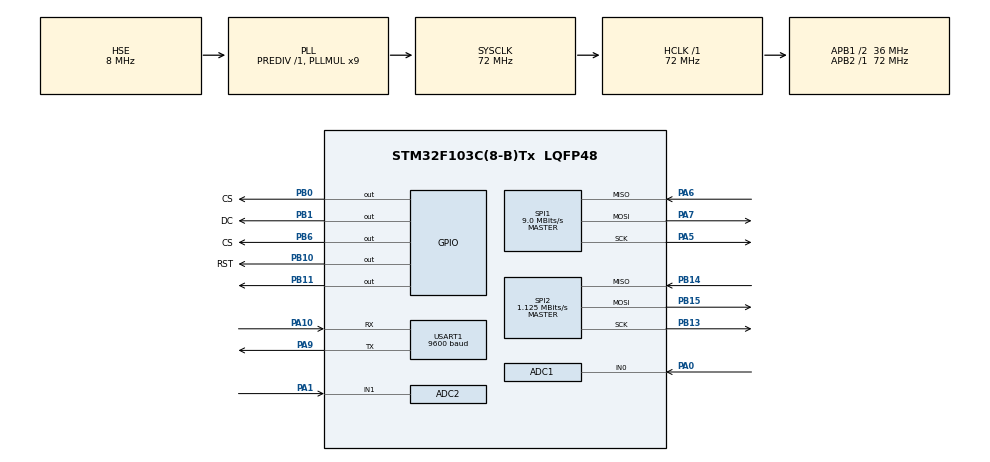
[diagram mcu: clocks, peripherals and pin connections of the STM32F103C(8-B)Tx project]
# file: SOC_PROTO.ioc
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ADC1.Channel-0\#ChannelRegularConversion=ADC_CHANNEL_0
ADC1.ContinuousConvMode=ENABLE
ADC1.NbrOfConversion=1
ADC1.NbrOfConversionFlag=1
ADC1.Rank-0\#ChannelRegularConversion=1
ADC1.SamplingTime-0\#ChannelRegularConversion=ADC_SAMPLETIME_71CYCLES_5
ADC1.master=1
ADC2.Channel-3\#ChannelRegularConversion=ADC_CHANNEL_1
ADC2.ContinuousConvMode=ENABLE
ADC2.NbrOfConversionFlag=1
ADC2.Rank-3\#ChannelRegularConversion=1
ADC2.SamplingTime-3\#ChannelRegularConversion=ADC_SAMPLETIME_71CYCLES_5
Dma.Request0=SPI2_RX
Dma.Request1=SPI2_TX
Dma.SPI2_RX.0.Direction=DMA_PERIPH_TO_MEMORY
Dma.SPI2_RX.0.Instance=DMA1_Channel4
Dma.SPI2_RX.0.MemDataAlignment=DMA_MDATAALIGN_BYTE
Dma.SPI2_RX.0.MemInc=DMA_MINC_ENABLE
Dma.SPI2_RX.0.Mode=DMA_NORMAL
Dma.SPI2_RX.0.PeriphDataAlignment=DMA_PDATAALIGN_BYTE
Dma.SPI2_RX.0.PeriphInc=DMA_PINC_DISABLE
Dma.SPI2_RX.0.Priority=DMA_PRIORITY_LOW
Dma.SPI2_TX.1.Direction=DMA_MEMORY_TO_PERIPH
Dma.SPI2_TX.1.Instance=DMA1_Channel5
Dma.SPI2_TX.1.MemDataAlignment=DMA_MDATAALIGN_BYTE
Dma.SPI2_TX.1.MemInc=DMA_MINC_ENABLE
Dma.SPI2_TX.1.Mode=DMA_NORMAL
Dma.SPI2_TX.1.PeriphDataAlignment=DMA_PDATAALIGN_BYTE
Dma.SPI2_TX.1.PeriphInc=DMA_PINC_DISABLE
Dma.SPI2_TX.1.Priority=DMA_PRIORITY_LOW
FATFS._USE_LABEL=1
FATFS._USE_LFN=3
Mcu.Family=STM32F1
Mcu.Name=STM32F103C(8-B)Tx
Mcu.Package=LQFP48
NVIC.DMA1_Channel4_IRQn=true\:0\:0\:false\:false\:true\:false\:true\:true
NVIC.DMA1_Channel5_IRQn=true\:0\:0\:false\:false\:true\:false\:true\:true
NVIC.PriorityGroup=NVIC_PRIORITYGROUP_4
PA0-WKUP.Signal=ADCx_IN0
PA1.Signal=ADCx_IN1
PA10.Mode=Asynchronous
PA10.Signal=USART1_RX
PA13.Mode=Serial_Wire
PA13.Signal=SYS_JTMS-SWDIO
PA14.Mode=Serial_Wire
PA14.Signal=SYS_JTCK-SWCLK
PA5.Mode=Full_Duplex_Master
PA5.Signal=SPI1_SCK
PA6.Mode=Full_Duplex_Master
PA6.Signal=SPI1_MISO
PA7.Mode=Full_Duplex_Master
PA7.Signal=SPI1_MOSI
PA9.Mode=Asynchronous
PA9.Signal=USART1_TX
PB0.GPIO_Label=CS
PB0.Signal=GPIO_Output
PB1.GPIO_Label=DC
PB1.Signal=GPIO_Output
PB10.GPIO_Label=RST
PB10.Signal=GPIO_Output
PB11.Signal=GPIO_Output
PB13.Mode=Full_Duplex_Master
PB13.Signal=SPI2_SCK
PB14.Mode=Full_Duplex_Master
PB14.Signal=SPI2_MISO
PB15.Mode=Full_Duplex_Master
PB15.Signal=SPI2_MOSI
PB6.GPIO_Label=CS
PB6.GPIO_Speed=GPIO_SPEED_FREQ_HIGH
PB6.PinState=GPIO_PIN_SET
PB6.Signal=GPIO_Output
PD0-OSC_IN.Mode=HSE-External-Oscillator
PD0-OSC_IN.Signal=RCC_OSC_IN
PD1-OSC_OUT.Mode=HSE-External-Oscillator
PD1-OSC_OUT.Signal=RCC_OSC_OUT
ProjectManager.HeapSize=0x200
ProjectManager.StackSize=0x400
ProjectManager.TargetToolchain=STM32CubeIDE
RCC.ADCPresc=RCC_ADCPCLK2_DIV6
RCC.AHBFreq_Value=72000000
RCC.APB1CLKDivider=RCC_HCLK_DIV2
RCC.APB1Freq_Value=36000000
RCC.APB1TimFreq_Value=72000000
RCC.APB2Freq_Value=72000000
RCC.APB2TimFreq_Value=72000000
RCC.HCLKFreq_Value=72000000
RCC.PLLMUL=RCC_PLL_MUL9
RCC.PLLSourceVirtual=RCC_PLLSOURCE_HSE
RCC.SYSCLKFreq_VALUE=72000000
RCC.SYSCLKSource=RCC_SYSCLKSOURCE_PLLCLK
RCC.USBFreq_Value=72000000
SH.ADCx_IN0.0=ADC1_IN0,IN0
SH.ADCx_IN1.0=ADC2_IN1,IN1
SPI1.BaudRatePrescaler=SPI_BAUDRATEPRESCALER_8
SPI1.CalculateBaudRate=9.0 MBits/s
SPI1.Direction=SPI_DIRECTION_2LINES
SPI1.Mode=SPI_MODE_MASTER
SPI1.VirtualType=VM_MASTER
SPI2.BaudRatePrescaler=SPI_BAUDRATEPRESCALER_32
SPI2.CalculateBaudRate=1.125 MBits/s
SPI2.Direction=SPI_DIRECTION_2LINES
SPI2.Mode=SPI_MODE_MASTER
SPI2.VirtualType=VM_MASTER
USART1.BaudRate=9600
USART1.VirtualMode=VM_ASYNC
VP_FATFS_VS_Generic.Mode=User_defined
board=custom

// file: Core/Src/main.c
/* USER CODE BEGIN Header */
/**
  ******************************************************************************
  * @file           : main.c
  ******************************************************************************
  * @attention
  *
  * Copyright (c) 2026 STMicroelectronics.
  * All rights reserved.
  *
  * This software is licensed under terms that can be found in the LICENSE file
  * in the root directory of this software component.
  * If no LICENSE file comes with this software, it is provided AS-IS.
  *
  ******************************************************************************
  */
/* USER CODE END Header */
#include "main.h"
#include "fatfs.h"

/* USER CODE BEGIN Includes */
#include "sh1107.h"
#include "fonts.h"
#include "sd_functions.h"
#include "sd_spi.h"
#include "ekf_soc.h"
#include "tjc_hmi.h"
#include <stdio.h>
#include <string.h>
/* USER CODE END Includes */

/* USER CODE BEGIN PD */

#define DISPLAY_REFRESH_DIV     20
#define HMI_REFRESH_INTERVAL_MS  1000U

#define OLED_W                  SH1107_WIDTH
#define OLED_H                  SH1107_HEIGHT

#define HDR_Y                   2
#define HDR_LINE_Y              13

#define VLT_LABEL_Y             17
#define VLT_VALUE_Y             29
#define VLT_UNIT_Y              35
#define VLT_LINE_Y              51

#define CUR_LABEL_Y             54
#define CUR_VALUE_Y             66
#define CUR_UNIT_Y              72
#define CUR_LINE_Y              89

#define FTR_LINE_Y              90
#define FTR_COL_SEP_X           63
#define FTR_LABEL_Y             93
#define FTR_VALUE_Y             104

/* adjustable: ADC / sensor scaling */
#define ADC_VREF                3.3f
#define ADC_MAX_COUNT           4095.0f
#define ADC_OVERSAMPLE_COUNT    64

#define VOLTAGE_DIVIDER_R1      180000.0f
#define VOLTAGE_DIVIDER_R2      10000.0f
#define VOLTAGE_DIVIDER_RATIO   ((VOLTAGE_DIVIDER_R1 + VOLTAGE_DIVIDER_R2) / VOLTAGE_DIVIDER_R2)

#define CURRENT_SENSOR_OFFSET       1.690f
#define CURRENT_SENSOR_SENSITIVITY  (0.033f * (3.3f/5.0f))

/* adjustable: parameter baterai 3S22P 18650 (12 V nominal, 9.0-12.6 V, 30 Ah) */
#define BATT_CAPACITY_AH        30.0f   /* kapasitas nominal pack (Ah) */
#define BATT_RS_OHM             0.010f  /* resistansi dalam pack 3S22P (estimasi, ~5 mOhm sel + kabel/BMS) */
#define VBATT_MIN_VALID         6.0f    /* di bawah ini dianggap baterai belum terpasang */

/* adjustable: SD card init */
#define SD_POWERUP_DELAY_MS     300
#define SD_INIT_RETRIES         5
#define SD_RETRY_DELAY_MS       200

/* adjustable: EMA smoothing */
#define VOLTAGE_EMA_ALPHA       0.08f
#define CURRENT_EMA_ALPHA       0.04f

/* adjustable: SD logger timing */
#define LOG_FILENAME             "LOG.CSV"
#define LOG_BUFFER_SAMPLES       1
#define LOG_LINE_MAXLEN          44
#define LOG_SYNC_EVERY_FLUSH     1
#define LOG_SAMPLE_DIV           100

/* adjustable: auto-zero sample count */
#define AUTOZERO_SAMPLES        500
#define AUTOZERO_FALLBACK       CURRENT_SENSOR_OFFSET

/* USER CODE END PD */

ADC_HandleTypeDef hadc1;
ADC_HandleTypeDef hadc2;

SPI_HandleTypeDef hspi1;
SPI_HandleTypeDef hspi2;
DMA_HandleTypeDef hdma_spi2_rx;
DMA_HandleTypeDef hdma_spi2_tx;

UART_HandleTypeDef huart1;

/* USER CODE BEGIN PV */
volatile float voltage = 0.0f;
volatile float current = 0.0f;
volatile float soc_pct = 0.0f;   /* SOC (%) untuk Live Expressions */
volatile float vAdc2Raw = 0.0f;
static float adc1VoltFiltered = 0.0f;
static float adc2VoltFiltered = 0.0f;
static uint8_t emaInitialized = 0;
static float currentSensorOffset = AUTOZERO_FALLBACK;

static FIL      logFile;
static uint8_t  sdReady = 0;
static char     logChunk[LOG_BUFFER_SAMPLES * LOG_LINE_MAXLEN];
static uint16_t logChunkLen = 0;
static uint8_t  logSampleCount = 0;
static uint16_t logFlushCount = 0;
static uint32_t logTotalSamples = 0;
static uint32_t logTickOffset   = 0;

static char sdStatusStr[10] = "UNKNOWN";
static char lineBuf[24];

static EKF_SOC_HandleTypeDef hekfSoc;
static uint32_t ekfLastTick = 0;

/* USER CODE END PV */

void SystemClock_Config(void);
static void MX_GPIO_Init(void);
static void MX_DMA_Init(void);
static void MX_ADC1_Init(void);
static void MX_ADC2_Init(void);
static void MX_SPI1_Init(void);
static void MX_SPI2_Init(void);
static void MX_USART1_UART_Init(void);
/* USER CODE BEGIN PFP */
static uint16_t ADC_ReadAveraged(ADC_HandleTypeDef *hadc);
static void     FloatToStr(float value, char *buf, uint8_t decimals);
static void     DrawMainScreen(float v, float i);
static void     DrawCalibratingScreen(uint16_t samplesDone, float latestOffset);
static void     DrawZeroDoneScreen(float offset);
static uint8_t  SD_Logger_Init(void);
static void     SD_Logger_AddSample(float v, float i, float soc_pct);
static void     SD_Logger_Flush(void);
static void     AutoZero_Compute(void);
static void     EKF_SOC_ConfigureModel(EKF_SOC_HandleTypeDef *hekf);
/* USER CODE END PFP */

int main(void)
{

  /* USER CODE BEGIN 1 */
  uint16_t displayCounter  = 0;
  uint16_t logSampleCounter = 0;
  uint32_t hmiLastRefresh = 0;
  /* USER CODE END 1 */

  /* MCU Configuration--------------------------------------------------------*/

  /* Reset of all peripherals, Initializes the Flash interface and the Systick. */
  HAL_Init();

  /* Configure the system clock */
  SystemClock_Config();

  /* Initialize all configured peripherals */
  MX_GPIO_Init();
  MX_DMA_Init();
  MX_ADC1_Init();
  MX_ADC2_Init();
  MX_SPI1_Init();
  MX_SPI2_Init();
  MX_USART1_UART_Init();
  TJC_HMI_Init(&huart1);
  /* USER CODE BEGIN 2 */
  HAL_ADCEx_Calibration_Start(&hadc1);
  HAL_ADCEx_Calibration_Start(&hadc2);

  SH1107_Init();
  SH1107_Fill(SH1107_COLOR_BLACK);
  SH1107_GotoXY(22, 2);
  SH1107_Puts("SOC MONITORING", &Font_7x10, SH1107_COLOR_WHITE);
  SH1107_DrawLine(0, 13, OLED_W - 1, 13, SH1107_COLOR_WHITE);
  SH1107_GotoXY(16, 56);
  SH1107_Puts("Initializing...", &Font_7x10, SH1107_COLOR_WHITE);
  SH1107_UpdateScreen();
  (void)TJC_HMI_DrawMonitor(0.0f, 0.0f, 0.0f, 0U, sdStatusStr, "INIT");

  sdReady = SD_Logger_Init();
  HAL_Delay(600);

  (void)TJC_HMI_SetStatus("CALIB");
  AutoZero_Compute();
  (void)TJC_HMI_SetStatus("START");

  DrawZeroDoneScreen(currentSensorOffset);
  SH1107_UpdateScreen();
  HAL_Delay(1500);

  /* EKF: ConfigureModel must run before Init */
  EKF_SOC_ConfigureModel(&hekfSoc);
  {
      uint16_t raw_soc_adc = ADC_ReadAveraged(&hadc1);
      adc1VoltFiltered = (float)raw_soc_adc * ADC_VREF / ADC_MAX_COUNT;
      adc2VoltFiltered = (float)ADC_ReadAveraged(&hadc2) * ADC_VREF / ADC_MAX_COUNT;
      emaInitialized = 1U;
      float v0   = adc1VoltFiltered * VOLTAGE_DIVIDER_RATIO;
      float soc0 = EKF_SOC_SocFromOcv(&hekfSoc, v0);
      float x0[2] = { 0.0f, soc0 };
      EKF_SOC_Init(&hekfSoc, x0);
  }
  ekfLastTick = HAL_GetTick();
  (void)TJC_HMI_SetStatus("READY");

  /* USER CODE END 2 */

  /* Infinite loop */
  /* USER CODE BEGIN WHILE */
  while (1)
  {
    uint16_t raw1 = ADC_ReadAveraged(&hadc1);
    uint16_t raw2 = ADC_ReadAveraged(&hadc2);

    float adc1Raw = (float)raw1 * ADC_VREF / ADC_MAX_COUNT;
    float adc2Raw = (float)raw2 * ADC_VREF / ADC_MAX_COUNT;

    if (!emaInitialized) {
        adc1VoltFiltered = adc1Raw;
        adc2VoltFiltered = adc2Raw;
        emaInitialized = 1;
    } else {
        adc1VoltFiltered += VOLTAGE_EMA_ALPHA * (adc1Raw - adc1VoltFiltered);
        adc2VoltFiltered += CURRENT_EMA_ALPHA * (adc2Raw - adc2VoltFiltered);
    }

    voltage  = adc1VoltFiltered * VOLTAGE_DIVIDER_RATIO;
    vAdc2Raw = adc2VoltFiltered;
    current  = (vAdc2Raw - currentSensorOffset) / CURRENT_SENSOR_SENSITIVITY;

    {
        uint32_t nowTick = HAL_GetTick();
        float Ts = (float)(nowTick - ekfLastTick) / 1000.0f;
        ekfLastTick = nowTick;
        if (Ts <= 0.0f) Ts = 0.01f;

        /* FIX: abaikan transien saat baterai belum terpasang / tegangan belum valid */
        if (voltage > VBATT_MIN_VALID)
            EKF_SOC_Update(&hekfSoc, current, voltage, Ts);
        soc_pct = EKF_SOC_GetSoC(&hekfSoc) * 100.0f;
    }

    if (++displayCounter >= DISPLAY_REFRESH_DIV) {
        displayCounter = 0;
        DrawMainScreen(voltage, current);
    }

    if ((HAL_GetTick() - hmiLastRefresh) >= HMI_REFRESH_INTERVAL_MS) {
        hmiLastRefresh = HAL_GetTick();
        (void)TJC_HMI_DrawMonitor(voltage, current, soc_pct, logTotalSamples,
                                  sdStatusStr, "READY");
    }

    if (++logSampleCounter >= LOG_SAMPLE_DIV) {
        logSampleCounter = 0;
        SD_Logger_AddSample(voltage, current, EKF_SOC_GetSoC(&hekfSoc) * 100.0f);
    }

    HAL_Delay(10);
    /* USER CODE END WHILE */

  }
}

void SystemClock_Config(void)
{
  RCC_OscInitTypeDef RCC_OscInitStruct = {0};
  RCC_ClkInitTypeDef RCC_ClkInitStruct = {0};
  RCC_PeriphCLKInitTypeDef PeriphClkInit = {0};

  /** Initializes the RCC Oscillators according to the specified parameters
  * in the RCC_OscInitTypeDef structure.
  */
  RCC_OscInitStruct.OscillatorType = RCC_OSCILLATORTYPE_HSE;
  RCC_OscInitStruct.HSEState = RCC_HSE_ON;
  RCC_OscInitStruct.HSEPredivValue = RCC_HSE_PREDIV_DIV1;
  RCC_OscInitStruct.HSIState = RCC_HSI_ON;
  RCC_OscInitStruct.PLL.PLLState = RCC_PLL_ON;
  RCC_OscInitStruct.PLL.PLLSource = RCC_PLLSOURCE_HSE;
  RCC_OscInitStruct.PLL.PLLMUL = RCC_PLL_MUL9;
  if (HAL_RCC_OscConfig(&RCC_OscInitStruct) != HAL_OK)
  {
    Error_Handler();
  }

  /** Initializes the CPU, AHB and APB buses clocks
  */
  RCC_ClkInitStruct.ClockType = RCC_CLOCKTYPE_HCLK|RCC_CLOCKTYPE_SYSCLK
                              |RCC_CLOCKTYPE_PCLK1|RCC_CLOCKTYPE_PCLK2;
  RCC_ClkInitStruct.SYSCLKSource = RCC_SYSCLKSOURCE_PLLCLK;
  RCC_ClkInitStruct.AHBCLKDivider = RCC_SYSCLK_DIV1;
  RCC_ClkInitStruct.APB1CLKDivider = RCC_HCLK_DIV2;
  RCC_ClkInitStruct.APB2CLKDivider = RCC_HCLK_DIV1;

  if (HAL_RCC_ClockConfig(&RCC_ClkInitStruct, FLASH_LATENCY_2) != HAL_OK)
  {
    Error_Handler();
  }
  PeriphClkInit.PeriphClockSelection = RCC_PERIPHCLK_ADC;
  PeriphClkInit.AdcClockSelection = RCC_ADCPCLK2_DIV6;
  if (HAL_RCCEx_PeriphCLKConfig(&PeriphClkInit) != HAL_OK)
  {
    Error_Handler();
  }
}

static void MX_ADC1_Init(void)
{

  ADC_ChannelConfTypeDef sConfig = {0};

  /** Common config
  */
  hadc1.Instance = ADC1;
  hadc1.Init.ScanConvMode = ADC_SCAN_DISABLE;
  hadc1.Init.ContinuousConvMode = ENABLE;
  hadc1.Init.DiscontinuousConvMode = DISABLE;
  hadc1.Init.ExternalTrigConv = ADC_SOFTWARE_START;
  hadc1.Init.DataAlign = ADC_DATAALIGN_RIGHT;
  hadc1.Init.NbrOfConversion = 1;
  if (HAL_ADC_Init(&hadc1) != HAL_OK)
  {
    Error_Handler();
  }

  /** Configure Regular Channel
  */
  sConfig.Channel = ADC_CHANNEL_0;
  sConfig.Rank = ADC_REGULAR_RANK_1;
  sConfig.SamplingTime = ADC_SAMPLETIME_71CYCLES_5;
  if (HAL_ADC_ConfigChannel(&hadc1, &sConfig) != HAL_OK)
  {
    Error_Handler();
  }

}

static void MX_ADC2_Init(void)
{

  ADC_ChannelConfTypeDef sConfig = {0};

  /** Common config
  */
  hadc2.Instance = ADC2;
  hadc2.Init.ScanConvMode = ADC_SCAN_DISABLE;
  hadc2.Init.ContinuousConvMode = ENABLE;
  hadc2.Init.DiscontinuousConvMode = DISABLE;
  hadc2.Init.ExternalTrigConv = ADC_SOFTWARE_START;
  hadc2.Init.DataAlign = ADC_DATAALIGN_RIGHT;
  hadc2.Init.NbrOfConversion = 1;
  if (HAL_ADC_Init(&hadc2) != HAL_OK)
  {
    Error_Handler();
  }

  /** Configure Regular Channel
  */
  sConfig.Channel = ADC_CHANNEL_1;
  sConfig.Rank = ADC_REGULAR_RANK_1;
  sConfig.SamplingTime = ADC_SAMPLETIME_71CYCLES_5;
  if (HAL_ADC_ConfigChannel(&hadc2, &sConfig) != HAL_OK)
  {
    Error_Handler();
  }

}

static void MX_SPI1_Init(void)
{

  /* SPI1 parameter configuration*/
  hspi1.Instance = SPI1;
  hspi1.Init.Mode = SPI_MODE_MASTER;
  hspi1.Init.Direction = SPI_DIRECTION_2LINES;
  hspi1.Init.DataSize = SPI_DATASIZE_8BIT;
  hspi1.Init.CLKPolarity = SPI_POLARITY_LOW;
  hspi1.Init.CLKPhase = SPI_PHASE_1EDGE;
  hspi1.Init.NSS = SPI_NSS_SOFT;
  hspi1.Init.BaudRatePrescaler = SPI_BAUDRATEPRESCALER_8;
  hspi1.Init.FirstBit = SPI_FIRSTBIT_MSB;
  hspi1.Init.TIMode = SPI_TIMODE_DISABLE;
  hspi1.Init.CRCCalculation = SPI_CRCCALCULATION_DISABLE;
  hspi1.Init.CRCPolynomial = 10;
  if (HAL_SPI_Init(&hspi1) != HAL_OK)
  {
    Error_Handler();
  }

}

static void MX_SPI2_Init(void)
{

  /* SPI2 parameter configuration*/
  hspi2.Instance = SPI2;
  hspi2.Init.Mode = SPI_MODE_MASTER;
  hspi2.Init.Direction = SPI_DIRECTION_2LINES;
  hspi2.Init.DataSize = SPI_DATASIZE_8BIT;
  hspi2.Init.CLKPolarity = SPI_POLARITY_LOW;
  hspi2.Init.CLKPhase = SPI_PHASE_1EDGE;
  hspi2.Init.NSS = SPI_NSS_SOFT;
  hspi2.Init.BaudRatePrescaler = SPI_BAUDRATEPRESCALER_32;
  hspi2.Init.FirstBit = SPI_FIRSTBIT_MSB;
  hspi2.Init.TIMode = SPI_TIMODE_DISABLE;
  hspi2.Init.CRCCalculation = SPI_CRCCALCULATION_DISABLE;
  hspi2.Init.CRCPolynomial = 10;
  if (HAL_SPI_Init(&hspi2) != HAL_OK)
  {
    Error_Handler();
  }

}

static void MX_USART1_UART_Init(void)
{

  huart1.Instance = USART1;
  huart1.Init.BaudRate = 9600;
  huart1.Init.WordLength = UART_WORDLENGTH_8B;
  huart1.Init.StopBits = UART_STOPBITS_1;
  huart1.Init.Parity = UART_PARITY_NONE;
  huart1.Init.Mode = UART_MODE_TX_RX;
  huart1.Init.HwFlowCtl = UART_HWCONTROL_NONE;
  huart1.Init.OverSampling = UART_OVERSAMPLING_16;
  if (HAL_UART_Init(&huart1) != HAL_OK)
  {
    Error_Handler();
  }

}

static void MX_DMA_Init(void)
{

  /* DMA controller clock enable */
  __HAL_RCC_DMA1_CLK_ENABLE();

  /* DMA interrupt init */
  /* DMA1_Channel4_IRQn interrupt configuration */
  HAL_NVIC_SetPriority(DMA1_Channel4_IRQn, 0, 0);
  HAL_NVIC_EnableIRQ(DMA1_Channel4_IRQn);
  /* DMA1_Channel5_IRQn interrupt configuration */
  HAL_NVIC_SetPriority(DMA1_Channel5_IRQn, 0, 0);
  HAL_NVIC_EnableIRQ(DMA1_Channel5_IRQn);

}

static void MX_GPIO_Init(void)
{
  GPIO_InitTypeDef GPIO_InitStruct = {0};

  /* GPIO Ports Clock Enable */
  __HAL_RCC_GPIOD_CLK_ENABLE();
  __HAL_RCC_GPIOA_CLK_ENABLE();
  __HAL_RCC_GPIOB_CLK_ENABLE();

  /*Configure GPIO pin Output Level */
  HAL_GPIO_WritePin(GPIOB, CS_Pin|DC_Pin|RST_Pin|GPIO_PIN_11, GPIO_PIN_RESET);

  /*Configure GPIO pin Output Level */
  HAL_GPIO_WritePin(CSB6_GPIO_Port, CSB6_Pin, GPIO_PIN_SET);

  /*Configure GPIO pins : CS_Pin DC_Pin RST_Pin PB11 */
  GPIO_InitStruct.Pin = CS_Pin|DC_Pin|RST_Pin|GPIO_PIN_11;
  GPIO_InitStruct.Mode = GPIO_MODE_OUTPUT_PP;
  GPIO_InitStruct.Pull = GPIO_NOPULL;
  GPIO_InitStruct.Speed = GPIO_SPEED_FREQ_LOW;
  HAL_GPIO_Init(GPIOB, &GPIO_InitStruct);

  /*Configure GPIO pin : CSB6_Pin */
  GPIO_InitStruct.Pin = CSB6_Pin;
  GPIO_InitStruct.Mode = GPIO_MODE_OUTPUT_PP;
  GPIO_InitStruct.Pull = GPIO_NOPULL;
  GPIO_InitStruct.Speed = GPIO_SPEED_FREQ_HIGH;
  HAL_GPIO_Init(CSB6_GPIO_Port, &GPIO_InitStruct);

}

/* USER CODE BEGIN 4 */

static uint16_t ADC_ReadAveraged(ADC_HandleTypeDef *hadc)
{
    uint32_t sum = 0;
    uint8_t  valid = 0;
    for (uint8_t i = 0; i < ADC_OVERSAMPLE_COUNT; i++) {
        HAL_ADC_Start(hadc);
        if (HAL_ADC_PollForConversion(hadc, 100) == HAL_OK) {
            sum += HAL_ADC_GetValue(hadc);
            valid++;
        }
        HAL_ADC_Stop(hadc);
    }
    return valid ? (uint16_t)(sum / valid) : 0;
}

static void FloatToStr(float value, char *buf, uint8_t decimals)
{
    int32_t scale = 1;
    for (uint8_t i = 0; i < decimals; i++) scale *= 10;

    uint8_t neg    = (value < 0.0f);
    float   absVal = neg ? -value : value;
    int32_t scaled = (int32_t)(absVal * scale + 0.5f);
    int32_t whole  = scaled / scale;
    int32_t frac   = scaled % scale;

    sprintf(buf, "%s%ld.%0*ld", neg ? "-" : "", (long)whole, decimals, (long)frac);
}

static void DrawMainScreen(float v, float i)
{
    char numBuf[12];

    SH1107_DrawFilledRectangle(0, 0, OLED_W, 13, SH1107_COLOR_BLACK);
    SH1107_GotoXY(8, HDR_Y);
    SH1107_Puts("SOC MONITORING", &Font_7x10, SH1107_COLOR_WHITE);
    SH1107_DrawLine(0, HDR_LINE_Y, OLED_W - 1, HDR_LINE_Y, SH1107_COLOR_WHITE);

    SH1107_DrawFilledRectangle(0, VLT_LABEL_Y, OLED_W, VLT_LINE_Y - VLT_LABEL_Y + 1,
                               SH1107_COLOR_BLACK);
    SH1107_GotoXY(3, VLT_LABEL_Y);
    SH1107_Puts("VOLTAGE", &Font_7x10, SH1107_COLOR_WHITE);

    FloatToStr(v, numBuf, 2);
    SH1107_GotoXY(3, VLT_VALUE_Y);
    SH1107_Puts(numBuf, &Font_11x18, SH1107_COLOR_WHITE);
    SH1107_GotoXY(116, VLT_UNIT_Y);
    SH1107_Puts("V", &Font_7x10, SH1107_COLOR_WHITE);

    SH1107_DrawLine(0, VLT_LINE_Y, OLED_W - 1, VLT_LINE_Y, SH1107_COLOR_WHITE);

    SH1107_DrawFilledRectangle(0, CUR_LABEL_Y, OLED_W, CUR_LINE_Y - CUR_LABEL_Y + 1,
                               SH1107_COLOR_BLACK);
    SH1107_GotoXY(3, CUR_LABEL_Y);
    SH1107_Puts("CURRENT", &Font_7x10, SH1107_COLOR_WHITE);

    FloatToStr(i, numBuf, 2);
    SH1107_GotoXY(3, CUR_VALUE_Y);
    SH1107_Puts(numBuf, &Font_11x18, SH1107_COLOR_WHITE);
    SH1107_GotoXY(116, CUR_UNIT_Y);
    SH1107_Puts("A", &Font_7x10, SH1107_COLOR_WHITE);

    SH1107_DrawLine(0, CUR_LINE_Y, OLED_W - 1, CUR_LINE_Y, SH1107_COLOR_WHITE);

    SH1107_DrawFilledRectangle(0, FTR_LINE_Y + 1, OLED_W,
                               OLED_H - FTR_LINE_Y - 1, SH1107_COLOR_BLACK);

    SH1107_GotoXY(3, FTR_LABEL_Y);
    SH1107_Puts("LOGGED", &Font_7x10, SH1107_COLOR_WHITE);
    snprintf(lineBuf, sizeof(lineBuf), "%06lu", (unsigned long)logTotalSamples);
    SH1107_GotoXY(3, FTR_VALUE_Y);
    SH1107_Puts(lineBuf, &Font_7x10, SH1107_COLOR_WHITE);

    SH1107_DrawLine(FTR_COL_SEP_X, FTR_LINE_Y + 1, FTR_COL_SEP_X,
                    OLED_H - 1, SH1107_COLOR_WHITE);

    SH1107_GotoXY(67, FTR_LABEL_Y);
    SH1107_Puts("SD CARD", &Font_7x10, SH1107_COLOR_WHITE);
    SH1107_GotoXY(67, FTR_VALUE_Y);
    SH1107_Puts(sdStatusStr, &Font_7x10, SH1107_COLOR_WHITE);

    SH1107_UpdateScreen();
}

static void DrawCalibratingScreen(uint16_t samplesDone, float latestOffset)
{
    const uint16_t BAR_X = 3, BAR_Y = 58, BAR_W = 122, BAR_H = 12;
    char offBuf[12];

    SH1107_Fill(SH1107_COLOR_BLACK);

    SH1107_GotoXY(15, HDR_Y);
    SH1107_Puts("CALIBRATING", &Font_7x10, SH1107_COLOR_WHITE);
    SH1107_DrawLine(0, HDR_LINE_Y, OLED_W - 1, HDR_LINE_Y, SH1107_COLOR_WHITE);

    SH1107_GotoXY(3, 18);
    SH1107_Puts("No load on sensor", &Font_7x10, SH1107_COLOR_WHITE);
    SH1107_GotoXY(3, 29);
    SH1107_Puts("input. Zero amps.", &Font_7x10, SH1107_COLOR_WHITE);
    SH1107_DrawLine(0, 42, OLED_W - 1, 42, SH1107_COLOR_WHITE);

    SH1107_GotoXY(3, 46);
    SH1107_Puts("PROGRESS", &Font_7x10, SH1107_COLOR_WHITE);

    SH1107_DrawRectangle(BAR_X, BAR_Y, BAR_W, BAR_H, SH1107_COLOR_WHITE);

    uint16_t fillW = (uint16_t)((uint32_t)samplesDone * (BAR_W - 2) / AUTOZERO_SAMPLES);
    if (fillW > 0) {
        SH1107_DrawFilledRectangle(BAR_X + 1, BAR_Y + 1, fillW, BAR_H - 2,
                                   SH1107_COLOR_WHITE);
    }

    uint8_t pct = (uint8_t)((uint32_t)samplesDone * 100 / AUTOZERO_SAMPLES);
    snprintf(lineBuf, sizeof(lineBuf), "%3u%%", pct);
    SH1107_GotoXY(50, 74);
    SH1107_Puts(lineBuf, &Font_7x10, SH1107_COLOR_WHITE);

    SH1107_DrawLine(0, 86, OLED_W - 1, 86, SH1107_COLOR_WHITE);

    SH1107_GotoXY(3, 90);
    SH1107_Puts("Sampling ADC2...", &Font_7x10, SH1107_COLOR_WHITE);

    if (samplesDone > 0) {
        FloatToStr(latestOffset, offBuf, 4);
        snprintf(lineBuf, sizeof(lineBuf), "Offset: %s V", offBuf);
    } else {
        snprintf(lineBuf, sizeof(lineBuf), "Offset: -.---- V");
    }
    SH1107_GotoXY(3, 101);
    SH1107_Puts(lineBuf, &Font_7x10, SH1107_COLOR_WHITE);

    SH1107_UpdateScreen();
}

static void DrawZeroDoneScreen(float offset)
{
    char offBuf[12];

    SH1107_Fill(SH1107_COLOR_BLACK);

    SH1107_GotoXY(8, HDR_Y);
    SH1107_Puts("ZERO COMPLETE", &Font_7x10, SH1107_COLOR_WHITE);
    SH1107_DrawLine(0, HDR_LINE_Y, OLED_W - 1, HDR_LINE_Y, SH1107_COLOR_WHITE);

    SH1107_GotoXY(3, 18);
    SH1107_Puts("Offset captured:", &Font_7x10, SH1107_COLOR_WHITE);

    FloatToStr(offset, offBuf, 4);
    SH1107_GotoXY(3, 32);
    SH1107_Puts(offBuf, &Font_11x18, SH1107_COLOR_WHITE);
    SH1107_GotoXY(72, 40);
    SH1107_Puts("V", &Font_7x10, SH1107_COLOR_WHITE);

    SH1107_DrawLine(0, 55, OLED_W - 1, 55, SH1107_COLOR_WHITE);

    snprintf(lineBuf, sizeof(lineBuf), "Samples : %u",
             (unsigned)(AUTOZERO_SAMPLES * ADC_OVERSAMPLE_COUNT));
    SH1107_GotoXY(3, 59);
    SH1107_Puts(lineBuf, &Font_7x10, SH1107_COLOR_WHITE);
    SH1107_GotoXY(3, 70);
    SH1107_Puts("Quality : GOOD", &Font_7x10, SH1107_COLOR_WHITE);

    SH1107_DrawLine(0, 83, OLED_W - 1, 83, SH1107_COLOR_WHITE);

    SH1107_GotoXY(3, 88);
    SH1107_Puts("Connect load now.", &Font_7x10, SH1107_COLOR_WHITE);
    SH1107_GotoXY(3, 99);
    SH1107_Puts("Starting in 1.5s", &Font_7x10, SH1107_COLOR_WHITE);

    SH1107_DrawLine(0, 113, OLED_W - 1, 113, SH1107_COLOR_WHITE);

    SH1107_GotoXY(8, 117);
    SH1107_Puts("SOC MONITORING", &Font_7x10, SH1107_COLOR_WHITE);
}

static void AutoZero_Compute(void)
{
    double   acc   = 0.0;
    uint16_t valid = 0;

    DrawCalibratingScreen(0, 0.0f);

    for (uint16_t s = 1; s <= AUTOZERO_SAMPLES; s++) {
        uint16_t raw  = ADC_ReadAveraged(&hadc2);
        float    vRaw = (float)raw * ADC_VREF / ADC_MAX_COUNT;
        acc += (double)vRaw;
        valid++;

        float runningOffset = (float)(acc / valid);

        if ((s % 25) == 0 || s == AUTOZERO_SAMPLES) {
            DrawCalibratingScreen(s, runningOffset);
        }

        HAL_Delay(10);
    }

    if (valid > 0) {
        currentSensorOffset = (float)(acc / (double)valid);
    }
}

/* FIX: ganti prescaler SPI2 saat runtime (init SD wajib <= 400 kHz) */
static void SD_SetSpiPrescaler(uint32_t prescaler)
{
    __HAL_SPI_DISABLE(&hspi2);
    MODIFY_REG(hspi2.Instance->CR1, SPI_CR1_BR, prescaler);
    __HAL_SPI_ENABLE(&hspi2);
}

static uint8_t SD_Logger_Init(void)
{
    extern char sd_path[4];
    FRESULT res = FR_NOT_READY;
    uint8_t attempt;

    /* FIX: beri waktu kartu SD menyala setelah power-up (cold start lewat USB) */
    HAL_Delay(SD_POWERUP_DELAY_MS);

    for (attempt = 0; attempt < SD_INIT_RETRIES; attempt++) {
        SD_SetSpiPrescaler(SPI_BAUDRATEPRESCALER_32);   /* 8 MHz/32 = 250 kHz */
        res = sd_mount();
        if (res != FR_NOT_READY) break;
        FATFS_UnLinkDriver(sd_path);                    /* supaya sd_mount() bisa dicoba lagi */
        HAL_Delay(SD_RETRY_DELAY_MS);
    }
    SD_SetSpiPrescaler(SPI_BAUDRATEPRESCALER_4);        /* kembali ke 2 MHz utk logging */

    if (res == FR_NOT_READY) {
        if      (sd_init_error == SD_INIT_ERR_CMD0)   strcpy(sdStatusStr, "NO CARD");
        else if (sd_init_error == SD_INIT_ERR_ACMD41) strcpy(sdStatusStr, "TIMEOUT");
        else                                            strcpy(sdStatusStr, "ERROR");
        return 0;
    }

    if (res != FR_OK) {
        strcpy(sdStatusStr, "NO FAT");
        return 0;
    }

    FRESULT fres = f_open(&logFile, LOG_FILENAME, FA_OPEN_ALWAYS | FA_WRITE);
    if (fres != FR_OK) {
        strcpy(sdStatusStr, "OPEN ERR");
        return 0;
    }

    if (f_size(&logFile) == 0) {
        UINT bw;
        const char *hdr = "Timestamp_s,Voltage_V,Current_A,SoC_pct\r\n";
        f_write(&logFile, hdr, strlen(hdr), &bw);
        f_sync(&logFile);
    } else {
        f_lseek(&logFile, f_size(&logFile));
    }

    strcpy(sdStatusStr, "READY");
    return 1;
}

static void SD_Logger_AddSample(float v, float i, float soc_pct)
{
    if (!sdReady) return;

    if (logChunkLen + LOG_LINE_MAXLEN >= sizeof(logChunk)) {
        SD_Logger_Flush();
        if (!sdReady) return;
    }

    uint32_t now = HAL_GetTick();

    if (logTotalSamples == 0 && logSampleCount == 0) {
        logTickOffset = now;
    }

    uint32_t elapsed_s = (now - logTickOffset) / 1000UL;

    char vStr[12], iStr[12], socStr[12];
    FloatToStr(v, vStr, 3);
    FloatToStr(i, iStr, 3);
    FloatToStr(soc_pct, socStr, 2);

    int n = snprintf(&logChunk[logChunkLen], sizeof(logChunk) - logChunkLen,
                      "%lu,%s,%s,%s\r\n",
                      (unsigned long)elapsed_s, vStr, iStr, socStr);

    if (n > 0) logChunkLen += (uint16_t)n;

    if (++logSampleCount >= LOG_BUFFER_SAMPLES) SD_Logger_Flush();
}

static void SD_Logger_Flush(void)
{
    if (!sdReady || logChunkLen == 0) { logSampleCount = 0; return; }

    UINT bw;
    FRESULT res = f_write(&logFile, logChunk, logChunkLen, &bw);

    if (res != FR_OK || bw != logChunkLen) {
        strcpy(sdStatusStr, "WRITE ERR");
        sdReady = 0;
    } else {
        logTotalSamples += logSampleCount;
        if (++logFlushCount >= LOG_SYNC_EVERY_FLUSH) {
            f_sync(&logFile);
            logFlushCount = 0;
        }
    }

    logChunkLen    = 0;
    logSampleCount = 0;
}

/* adjustable: EKF battery model / tuning — the one function to edit */
static void EKF_SOC_ConfigureModel(EKF_SOC_HandleTypeDef *hekf)
{
    /* Kapasitas (Ah) dipakai utk coulomb counting dan C-rate */
    hekf->Qn_for_rho = BATT_CAPACITY_AH;

    hekf->rho_lo = 0.0f;
    hekf->rho_hi = 1.0f;          /* C-rate; A_lo == A_hi jadi interpolasi tidak berpengaruh */

    hekf->A_lo[0] = -0.02f;  hekf->A_lo[1] = 0.0f;
    hekf->A_lo[2] = 0.0f;    hekf->A_lo[3] = 0.0f;
    hekf->A_hi[0] = -0.02f;  hekf->A_hi[1] = 0.0f;
    hekf->A_hi[2] = 0.0f;    hekf->A_hi[3] = 0.0f;

    hekf->B_lo[0] = 0.0002f;
    hekf->B_lo[1] = -1.0f / (3600.0f * hekf->Qn_for_rho);
    hekf->B_hi[0] = 0.0002f;
    hekf->B_hi[1] = hekf->B_lo[1];

    hekf->Rs_lo = BATT_RS_OHM;
    hekf->Rs_hi = BATT_RS_OHM;

    hekf->C0[0] = -1.0f;
    hekf->C0[1] =  0.0f;

    /* OCV pack 3S 18650 (9.00 V @0% .. 12.60 V @100%), polinomial orde 5 hasil fitting
       kurva tipikal Li-ion NMC per sel x3. Koefisien urut dari pangkat tertinggi. */
    hekf->ocvCoeffs[0] = 48.235311f;   hekf->ocvCoeffs[1] = -141.179822f;
    hekf->ocvCoeffs[2] = 155.693715f;  hekf->ocvCoeffs[3] = -78.535183f;
    hekf->ocvCoeffs[4] = 19.356109f;   hekf->ocvCoeffs[5] = 9.041960f;
    hekf->ocvOrder     = 5;
    hekf->dOcvCoeffs[0] = 241.176557f; hekf->dOcvCoeffs[1] = -564.719290f;
    hekf->dOcvCoeffs[2] = 467.081144f; hekf->dOcvCoeffs[3] = -157.070367f;
    hekf->dOcvCoeffs[4] = 19.356109f;
    hekf->dOcvOrder     = 4;

    hekf->Q[0] = 0.000001f; hekf->Q[1] = 0.0f;
    hekf->Q[2] = 0.0f;      hekf->Q[3] = 1.0e-10f;   /* FIX: derau proses SOC kecil agar coulomb counting dominan, tegangan hanya koreksi pelan */
    hekf->R    = 0.01f;      /* FIX: dinaikkan agar SOC tidak terlalu mengikuti noise tegangan */

    hekf->P[0] = 0.0001f; hekf->P[1] = 0.0f;
    hekf->P[2] = 0.0f;    hekf->P[3] = 0.01f;
}

/* USER CODE END 4 */

void Error_Handler(void)
{
  __disable_irq();
  while (1)
  {
  }
}
